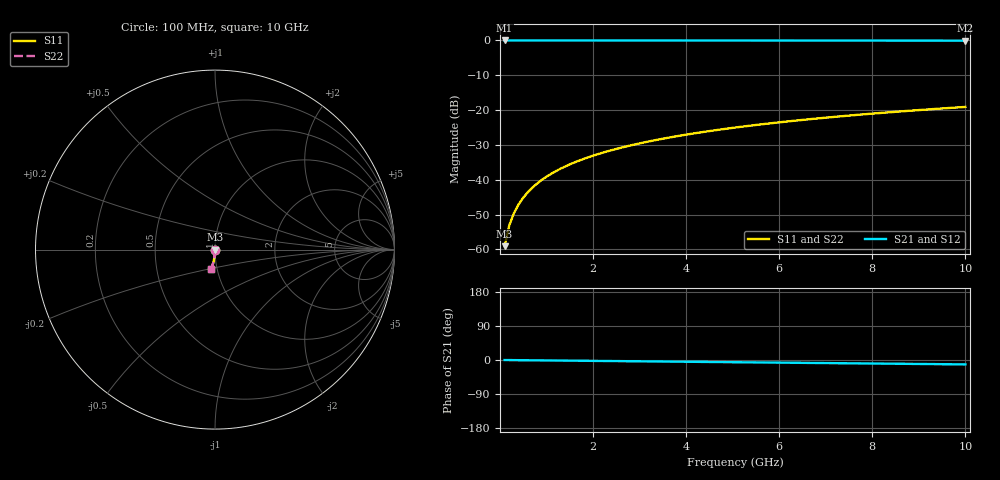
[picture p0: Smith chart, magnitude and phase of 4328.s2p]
# Hz S RI R 50.00
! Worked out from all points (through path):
!   100 points, 100 MHz to 10 GHz, reference 50 ohm
!   highest |S21| = 0.00 dB at 100 MHz (marker M1); lowest = -0.1 dB at 10 GHz (marker M2)
!   group delay of S21, straight-line fit = 3.23 ps
!   lowest |S11| = -59.1 dB at 100 MHz (marker M3), VSWR 1.00, Z = 50 - j0.111 ohm
!   |S11| at or under -10 dB: start of sweep to end of sweep
!   |S22| runs from -59.1 to -19.1 dB; largest |S21 - S12| = 0
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1e8  0.00013 -0.00111  0.9999 -0.002  0.9999 -0.002  0.00013 -0.00111
2e8  0.000123 -0.00221  0.9999 -0.00401  0.9999 -0.00401  0.000123 -0.00221
3e8  0.000111 -0.00332  0.9998 -0.00601  0.9998 -0.00601  0.000111 -0.00332
4e8  9.42e-05 -0.00443  0.9998 -0.00801  0.9998 -0.00801  9.42e-05 -0.00443
5e8  7.32e-05 -0.00553  0.9998 -0.01  0.9998 -0.01  7.32e-05 -0.00553
6e8  4.77e-05 -0.00664  0.9998 -0.012  0.9998 -0.012  4.77e-05 -0.00664
7e8  1.78e-05 -0.00775  0.9997 -0.014  0.9997 -0.014  1.78e-05 -0.00775
8e8  -1.67e-05 -0.00886  0.9997 -0.016  0.9997 -0.016  -1.67e-05 -0.00886
9e8  -5.56e-05 -0.00997  0.9996 -0.018  0.9996 -0.018  -5.56e-05 -0.00997
1.1e9  -0.000147 -0.0122  0.9995 -0.022  0.9995 -0.022  -0.000147 -0.0122
1.4e9  -0.000317 -0.0155  0.9993 -0.0281  0.9993 -0.0281  -0.000317 -0.0155
1.8e9  -0.000607 -0.0199  0.999 -0.0361  0.999 -0.0361  -0.000607 -0.0199
2.1e9  -0.000872 -0.0233  0.9987 -0.0421  0.9987 -0.0421  -0.000872 -0.0233
2.5e9  -0.00129 -0.0277  0.9982 -0.0502  0.9982 -0.0502  -0.00129 -0.0277
2.9e9  -0.00178 -0.0321  0.9976 -0.0582  0.9976 -0.0582  -0.00178 -0.0321
3.4e9  -0.00249 -0.0377  0.9968 -0.0682  0.9968 -0.0682  -0.00249 -0.0377
4.2e9  -0.00386 -0.0465  0.9951 -0.0843  0.9951 -0.0843  -0.00386 -0.0465
5.1e9  -0.00575 -0.0564  0.9929 -0.1024  0.9929 -0.1024  -0.00575 -0.0564
5.9e9  -0.00774 -0.0652  0.9905 -0.1185  0.9905 -0.1185  -0.00774 -0.0652
6.7e9  -0.01 -0.0739  0.9879 -0.1345  0.9879 -0.1345  -0.01 -0.0739
8.4e9  -0.0158 -0.0921  0.981 -0.1683  0.981 -0.1683  -0.0158 -0.0921
1e10  -0.0224 -0.1089  0.9732 -0.1999  0.9732 -0.1999  -0.0224 -0.1089
